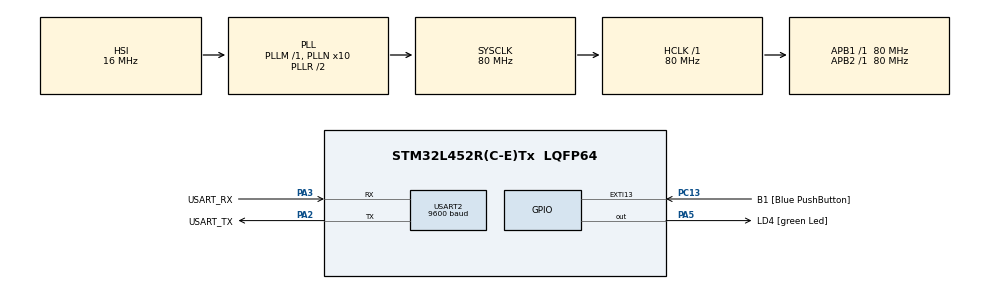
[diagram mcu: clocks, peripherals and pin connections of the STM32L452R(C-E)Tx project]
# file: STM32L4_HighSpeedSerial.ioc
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Dma.Request0=USART2_TX
Dma.USART2_TX.0.Direction=DMA_MEMORY_TO_PERIPH
Dma.USART2_TX.0.Instance=DMA1_Channel7
Dma.USART2_TX.0.MemDataAlignment=DMA_MDATAALIGN_BYTE
Dma.USART2_TX.0.MemInc=DMA_MINC_ENABLE
Dma.USART2_TX.0.Mode=DMA_NORMAL
Dma.USART2_TX.0.PeriphDataAlignment=DMA_PDATAALIGN_BYTE
Dma.USART2_TX.0.PeriphInc=DMA_PINC_DISABLE
Dma.USART2_TX.0.Priority=DMA_PRIORITY_LOW
Mcu.Family=STM32L4
Mcu.Name=STM32L452R(C-E)Tx
Mcu.Package=LQFP64
NVIC.DMA1_Channel7_IRQn=true\:0\:0\:false\:false\:true\:false\:true\:true
NVIC.PriorityGroup=NVIC_PRIORITYGROUP_4
PA13\ (JTMS/SWDIO).GPIO_Label=TMS
PA13\ (JTMS/SWDIO).Signal=SYS_JTMS-SWDIO
PA14\ (JTCK/SWCLK).GPIO_Label=TCK
PA14\ (JTCK/SWCLK).Signal=SYS_JTCK-SWCLK
PA2.GPIO_Label=USART_TX
PA2.GPIO_Mode=GPIO_MODE_AF_PP
PA2.GPIO_PuPd=GPIO_NOPULL
PA2.GPIO_Speed=GPIO_SPEED_FREQ_VERY_HIGH
PA2.Mode=Asynchronous
PA2.Signal=USART2_TX
PA3.GPIO_Label=USART_RX
PA3.GPIO_Mode=GPIO_MODE_AF_PP
PA3.GPIO_PuPd=GPIO_NOPULL
PA3.GPIO_Speed=GPIO_SPEED_FREQ_VERY_HIGH
PA3.Mode=Asynchronous
PA3.Signal=USART2_RX
PA5.GPIO_Label=LD4 [green Led]
PA5.GPIO_ModeDefaultOutputPP=GPIO_MODE_OUTPUT_PP
PA5.GPIO_PuPd=GPIO_NOPULL
PA5.GPIO_Speed=GPIO_SPEED_FREQ_LOW
PA5.Signal=GPIO_Output
PB3\ (JTDO/TRACESWO).GPIO_Label=SWO
PB3\ (JTDO/TRACESWO).Signal=SYS_JTDO-SWO
PC13.GPIO_Label=B1 [Blue PushButton]
PC13.GPIO_ModeDefaultEXTI=GPIO_MODE_IT_FALLING
PC13.GPIO_PuPd=GPIO_NOPULL
PC13.Signal=GPXTI13
PC14-OSC32_IN\ (PC14).Signal=RCC_OSC32_IN
PC15-OSC32_OUT\ (PC15).Signal=RCC_OSC32_OUT
PH0-OSC_IN\ (PH0).Signal=RCC_OSC_IN
PH1-OSC_OUT\ (PH1).Signal=RCC_OSC_OUT
ProjectManager.HeapSize=0x200
ProjectManager.StackSize=0x400
ProjectManager.TargetToolchain=STM32CubeIDE
RCC.ADCFreq_Value=64000000
RCC.AHBFreq_Value=80000000
RCC.APB1Freq_Value=80000000
RCC.APB1TimFreq_Value=80000000
RCC.APB2Freq_Value=80000000
RCC.APB2TimFreq_Value=80000000
RCC.CortexFreq_Value=80000000
RCC.HCLKFreq_Value=80000000
RCC.HSE_VALUE=8000000
RCC.HSI48_VALUE=48000000
RCC.HSI_VALUE=16000000
RCC.LSE_VALUE=32768
RCC.MSI_VALUE=4000000
RCC.PLLN=10
RCC.PLLSourceVirtual=RCC_PLLSOURCE_HSI
RCC.PREFETCH_ENABLE=1
RCC.SYSCLKFreq_VALUE=80000000
RCC.SYSCLKSource=RCC_SYSCLKSOURCE_PLLCLK
RCC.USBFreq_Value=64000000
RCC.VCOOutputFreq_Value=160000000
USART2.BaudRate=9600
USART2.DMADisableonRxErrorParam=ADVFEATURE_DMA_DISABLEONRXERROR
USART2.VirtualMode-Asynchronous=VM_ASYNC
board=NUCLEO-L452RE

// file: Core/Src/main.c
/* USER CODE BEGIN Header */
/**
  ******************************************************************************
  * @file           : main.c
  * @brief          : Main program body
  ******************************************************************************
  * @attention
  *
  * Copyright (c) 2026 STMicroelectronics.
  * All rights reserved.
  *
  * This software is licensed under terms that can be found in the LICENSE file
  * in the root directory of this software component.
  * If no LICENSE file comes with this software, it is provided AS-IS.
  *
  ******************************************************************************
  */
/* USER CODE END Header */
#include "main.h"

/* UART handler declaration */
UART_HandleTypeDef huart2;
/* DMA Handle declaration */
DMA_HandleTypeDef hdma_usart2_tx;

void SystemClock_Config(void);
static void MX_GPIO_Init(void);
static void MX_DMA_Init(void);
static void MX_USART2_UART_Init(void);

int main(void)
{

  /* USER CODE BEGIN 1 */
	uint32_t buttonState;
	uint32_t previousButtonState = PB_RELEASED;
  /* USER CODE END 1 */

  /* MCU Configuration--------------------------------------------------------*/

  /* Reset of all peripherals, Initializes the Flash interface and the Systick. */
  HAL_Init();

  /* Configure the system clock */
  SystemClock_Config();

  /* Initialize all configured peripherals */
  MX_GPIO_Init();
  MX_DMA_Init();
  MX_USART2_UART_Init();
  /* USER CODE BEGIN 2 */
  //uint8_t aTxBuffer[128] = "*** High data rate UART <-> PC communication based on DMA ****\r\n*** High data rate UART <-> PC communication based on DMA ****\r\n";
  uint8_t aTxBuffer[1024] = "01* High data rate UART <-> PC communication based on DMA ****\r\n02* High data rate UART <-> PC communication based on DMA ****\r\n"
		  "03* High data rate UART <-> PC communication based on DMA ****\r\n04* High data rate UART <-> PC communication based on DMA ****\r\n"
		  "05* High data rate UART <-> PC communication based on DMA ****\r\n06* High data rate UART <-> PC communication based on DMA ****\r\n"
		  "07* High data rate UART <-> PC communication based on DMA ****\r\n08* High data rate UART <-> PC communication based on DMA ****\r\n"
		  "09* High data rate UART <-> PC communication based on DMA ****\r\n10* High data rate UART <-> PC communication based on DMA ****\r\n"
		  "11* High data rate UART <-> PC communication based on DMA ****\r\n12* High data rate UART <-> PC communication based on DMA ****\r\n"
		  "13* High data rate UART <-> PC communication based on DMA ****\r\n14* High data rate UART <-> PC communication based on DMA ****\r\n"
		  "15* High data rate UART <-> PC communication based on DMA ****\r\n16* High data rate UART <-> PC communication based on DMA ***\r\n\0";
  /* USER CODE END 2 */

  /* Infinite loop */
  /* USER CODE BEGIN WHILE */
  while (1)
  {
	  buttonState = BSP_PB_GetState(BUTTON_USER);
	  // If button state has changed
	  if (buttonState != previousButtonState)
	  {
		  if (buttonState == PB_PRESSED)
	      {
			  //if (huart2.gState != HAL_UART_STATE_READY)
				  //huart2.gState = HAL_UART_STATE_READY;
			  // Start transmission
			  if(HAL_UART_Transmit_DMA(&huart2, (uint8_t*)aTxBuffer, TXBUFFERSIZE)!= HAL_OK)
			  {
				  Error_Handler();
			  }
	      }
		  else
		  {
			  // Stop transmission on button released
			  //HAL_UART_DMAStop(&huart2);
		  }
		  previousButtonState = buttonState;
	  }
    /* USER CODE END WHILE */

  }
}

static void MX_GPIO_Init(void)
{
  GPIO_InitTypeDef GPIO_InitStruct = {0};

  /* GPIO Ports Clock Enable */
  __HAL_RCC_GPIOC_CLK_ENABLE();
  __HAL_RCC_GPIOH_CLK_ENABLE();
  __HAL_RCC_GPIOA_CLK_ENABLE();
  __HAL_RCC_GPIOB_CLK_ENABLE();

  /*Configure GPIO pin Output Level */
  HAL_GPIO_WritePin(LD4_GPIO_Port, LD4_Pin, GPIO_PIN_RESET);

  /*Configure GPIO pin : B1_Pin */
  GPIO_InitStruct.Pin = B1_Pin;
  GPIO_InitStruct.Mode = GPIO_MODE_IT_FALLING;
  GPIO_InitStruct.Pull = GPIO_NOPULL;
  HAL_GPIO_Init(B1_GPIO_Port, &GPIO_InitStruct);

  /*Configure GPIO pin : LD4_Pin */
  GPIO_InitStruct.Pin = LD4_Pin;
  GPIO_InitStruct.Mode = GPIO_MODE_OUTPUT_PP;
  GPIO_InitStruct.Pull = GPIO_NOPULL;
  GPIO_InitStruct.Speed = GPIO_SPEED_FREQ_LOW;
  HAL_GPIO_Init(LD4_GPIO_Port, &GPIO_InitStruct);

}

static void MX_DMA_Init(void)
{

  /* DMA controller clock enable */
  __HAL_RCC_DMA1_CLK_ENABLE();
  /* DMA interrupt init */
  /* DMA1_Channel7_IRQn interrupt configuration */
  HAL_NVIC_SetPriority(DMA1_Channel7_IRQn, 0, 0);
  HAL_NVIC_EnableIRQ(DMA1_Channel7_IRQn);

}

static void MX_USART2_UART_Init(void)
{

  huart2.Instance = USART2;
  huart2.Init.BaudRate = 2000000;
  huart2.Init.WordLength = UART_WORDLENGTH_8B;
  huart2.Init.StopBits = UART_STOPBITS_1;
  huart2.Init.Parity = UART_PARITY_NONE;
  huart2.Init.Mode = UART_MODE_TX_RX;
  huart2.Init.HwFlowCtl = UART_HWCONTROL_NONE;
  huart2.Init.OverSampling = UART_OVERSAMPLING_16;
  huart2.Init.OneBitSampling = UART_ONE_BIT_SAMPLE_DISABLE;
  huart2.AdvancedInit.AdvFeatureInit = UART_ADVFEATURE_DMADISABLEONERROR_INIT;
  huart2.AdvancedInit.DMADisableonRxError = UART_ADVFEATURE_DMA_DISABLEONRXERROR;
  if (HAL_UART_Init(&huart2) != HAL_OK)
  {
    Error_Handler();
  }

}

void SystemClock_Config(void)
{
  RCC_OscInitTypeDef RCC_OscInitStruct = {0};
  RCC_ClkInitTypeDef RCC_ClkInitStruct = {0};

  /** Configure the main internal regulator output voltage
  */
  if (HAL_PWREx_ControlVoltageScaling(PWR_REGULATOR_VOLTAGE_SCALE1) != HAL_OK)
  {
    Error_Handler();
  }

  /** Initializes the RCC Oscillators according to the specified parameters
  * in the RCC_OscInitTypeDef structure.
  */
  RCC_OscInitStruct.OscillatorType = RCC_OSCILLATORTYPE_HSI;
  RCC_OscInitStruct.HSIState = RCC_HSI_ON;
  RCC_OscInitStruct.HSICalibrationValue = 64;
  RCC_OscInitStruct.PLL.PLLState = RCC_PLL_ON;
  RCC_OscInitStruct.PLL.PLLSource = RCC_PLLSOURCE_HSI;
  RCC_OscInitStruct.PLL.PLLM = 1;
  RCC_OscInitStruct.PLL.PLLN = 10;
  RCC_OscInitStruct.PLL.PLLP = RCC_PLLP_DIV7;
  RCC_OscInitStruct.PLL.PLLQ = RCC_PLLQ_DIV2;
  RCC_OscInitStruct.PLL.PLLR = RCC_PLLR_DIV2;
  if (HAL_RCC_OscConfig(&RCC_OscInitStruct) != HAL_OK)
  {
    Error_Handler();
  }

  /** Initializes the CPU, AHB and APB buses clocks
  */
  RCC_ClkInitStruct.ClockType = RCC_CLOCKTYPE_HCLK|RCC_CLOCKTYPE_SYSCLK
                              |RCC_CLOCKTYPE_PCLK1|RCC_CLOCKTYPE_PCLK2;
  RCC_ClkInitStruct.SYSCLKSource = RCC_SYSCLKSOURCE_PLLCLK;
  RCC_ClkInitStruct.AHBCLKDivider = RCC_SYSCLK_DIV1;
  RCC_ClkInitStruct.APB1CLKDivider = RCC_HCLK_DIV1;
  RCC_ClkInitStruct.APB2CLKDivider = RCC_HCLK_DIV1;

  if (HAL_RCC_ClockConfig(&RCC_ClkInitStruct, FLASH_LATENCY_4) != HAL_OK)
  {
    Error_Handler();
  }
}

void Error_Handler(void)
{
  __disable_irq();
  while (1)
  {
  }
}
